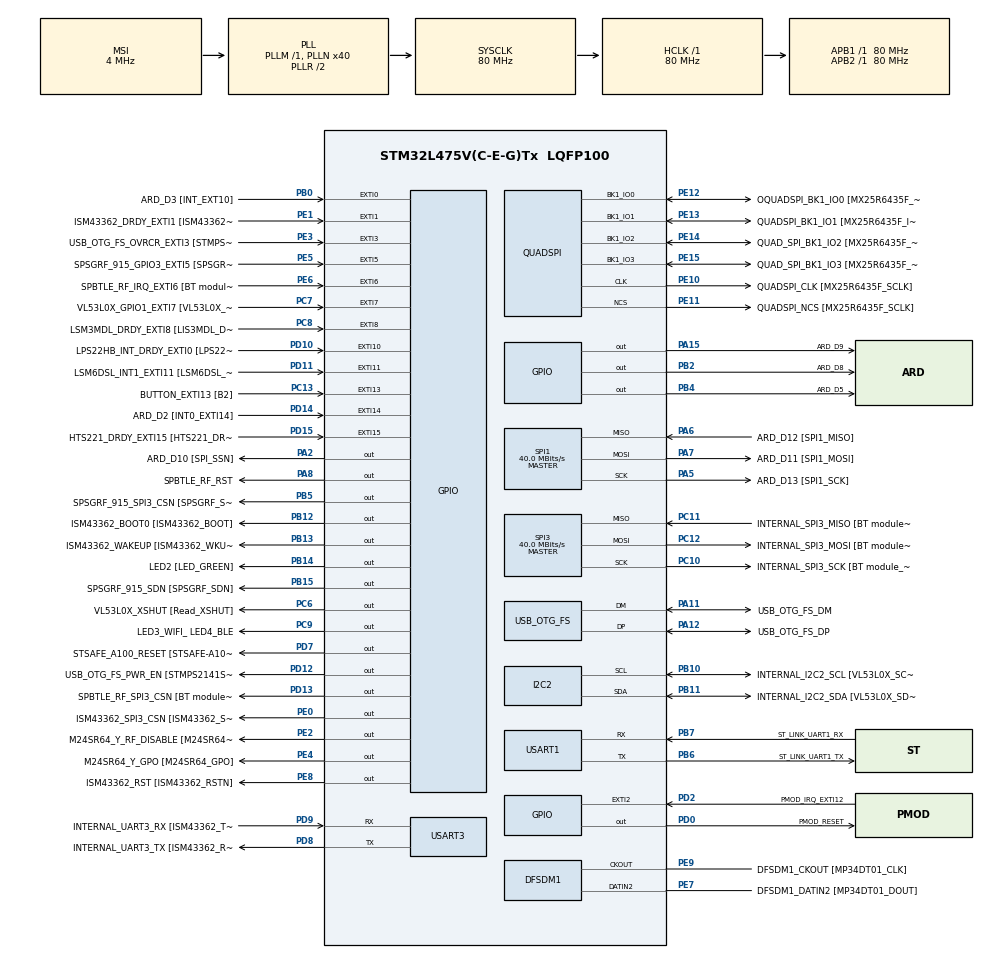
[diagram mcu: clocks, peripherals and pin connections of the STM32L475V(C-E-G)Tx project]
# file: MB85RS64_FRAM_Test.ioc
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Mcu.Family=STM32L4
Mcu.Name=STM32L475V(C-E-G)Tx
Mcu.Package=LQFP100
NVIC.EXTI15_10_IRQn=true\:0\:0\:false\:false\:true\:true\:true
NVIC.EXTI9_5_IRQn=true\:0\:0\:false\:false\:true\:true\:true
NVIC.PriorityGroup=NVIC_PRIORITYGROUP_4
PA0.GPIO_Label=ARD_D1 [UART4_TX]
PA0.Signal=UART4_TX
PA1.GPIO_Label=ARD_D0 [UART4_RX]
PA1.Signal=UART4_RX
PA10.GPIO_Label=USB_OTG_FS_ID
PA10.Signal=USB_OTG_FS_ID
PA11.GPIO_Label=USB_OTG_FS_DM
PA11.Mode=Device_Only
PA11.Signal=USB_OTG_FS_DM
PA12.GPIO_Label=USB_OTG_FS_DP
PA12.Mode=Device_Only
PA12.Signal=USB_OTG_FS_DP
PA13\ (JTMS-SWDIO).GPIO_Label=SYS_JTMS_SWDIO
PA13\ (JTMS-SWDIO).Mode=Serial_Wire
PA13\ (JTMS-SWDIO).Signal=SYS_JTMS-SWDIO
PA14\ (JTCK-SWCLK).GPIO_Label=SYS_JTCK_SWCLK
PA14\ (JTCK-SWCLK).Mode=Serial_Wire
PA14\ (JTCK-SWCLK).Signal=SYS_JTCK-SWCLK
PA15\ (JTDI).GPIO_Label=ARD_D9
PA15\ (JTDI).Signal=GPIO_Output
PA2.GPIO_Label=ARD_D10 [SPI_SSN]
PA2.Signal=GPIO_Output
PA3.GPIO_Label=ARD_D4
PA3.Signal=S_TIM2_CH4
PA4.GPIO_Label=ARD_D7
PA4.Signal=ADCx_IN9
PA5.GPIO_Label=ARD_D13 [SPI1_SCK]
PA5.Mode=Full_Duplex_Master
PA5.Signal=SPI1_SCK
PA6.GPIO_Label=ARD_D12 [SPI1_MISO]
PA6.Mode=Full_Duplex_Master
PA6.Signal=SPI1_MISO
PA7.GPIO_Label=ARD_D11 [SPI1_MOSI]
PA7.Mode=Full_Duplex_Master
PA7.Signal=SPI1_MOSI
PA8.GPIO_Label=SPBTLE_RF_RST
PA8.Signal=GPIO_Output
PA9.GPIO_Label=USB_OTG_FS_VBUS [STMPS2141STR_OUT]
PA9.Signal=USB_OTG_FS_VBUS
PB0.GPIO_Label=ARD_D3 [INT_EXT10]
PB0.Signal=GPXTI0
PB1.GPIO_Label=ARD_D6 [ADC1_IN6]
PB1.Signal=ADCx_IN16
PB10.GPIO_Label=INTERNAL_I2C2_SCL [VL53L0X_SCL]
PB10.Mode=I2C
PB10.Signal=I2C2_SCL
PB11.GPIO_Label=INTERNAL_I2C2_SDA [VL53L0X_SDA]
PB11.Mode=I2C
PB11.Signal=I2C2_SDA
PB12.GPIO_Label=ISM43362_BOOT0 [ISM43362_BOOT]
PB12.Signal=GPIO_Output
PB13.GPIO_Label=ISM43362_WAKEUP [ISM43362_WKUP]
PB13.Signal=GPIO_Output
PB14.GPIO_Label=LED2 [LED_GREEN]
PB14.Signal=GPIO_Output
PB15.GPIO_Label=SPSGRF_915_SDN [SPSGRF_SDN]
PB15.Signal=GPIO_Output
PB2.GPIO_Label=ARD_D8
PB2.Signal=GPIO_Output
PB3\ (JTDO-TRACESWO).GPIO_Label=SYS_JTD0_SWO
PB3\ (JTDO-TRACESWO).Signal=SYS_JTDO-SWO
PB4\ (NJTRST).GPIO_Label=ARD_D5
PB4\ (NJTRST).Signal=GPIO_Output
PB5.GPIO_Label=SPSGRF_915_SPI3_CSN [SPSGRF_SPI_CS]
PB5.PinState=GPIO_PIN_SET
PB5.Signal=GPIO_Output
PB6.GPIO_Label=ST_LINK_UART1_TX
PB6.Mode=Asynchronous
PB6.Signal=USART1_TX
PB7.GPIO_Label=ST_LINK_UART1_RX
PB7.Mode=Asynchronous
PB7.Signal=USART1_RX
PB8.GPIO_Label=ARD_D15 [I2C1_SCL]
PB8.Signal=I2C1_SCL
PB9.GPIO_Label=ARD_D14 [I2C1_SDA]
PB9.Signal=I2C1_SDA
PC0.GPIO_Label=ARD_A5 [ADC]
PC0.Signal=ADCx_IN1
PC1.GPIO_Label=ARD_A4 [ADC]
PC1.Signal=ADCx_IN2
PC10.GPIO_Label=INTERNAL_SPI3_SCK [BT module_SPI_SCLK]
PC10.Mode=Full_Duplex_Master
PC10.Signal=SPI3_SCK
PC11.GPIO_Label=INTERNAL_SPI3_MISO [BT module_SPI_MISO]
PC11.Mode=Full_Duplex_Master
PC11.Signal=SPI3_MISO
PC12.GPIO_Label=INTERNAL_SPI3_MOSI [BT module_SPI_MOSI]
PC12.Mode=Full_Duplex_Master
PC12.Signal=SPI3_MOSI
PC13.GPIO_Label=BUTTON_EXTI13 [B2]
PC13.GPIO_ModeDefaultEXTI=GPIO_MODE_IT_FALLING
PC13.Signal=GPXTI13
PC14-OSC32_IN\ (PC14).Mode=LSE-External-Oscillator
PC14-OSC32_IN\ (PC14).Signal=RCC_OSC32_IN
PC15-OSC32_OUT\ (PC15).Mode=LSE-External-Oscillator
PC15-OSC32_OUT\ (PC15).Signal=RCC_OSC32_OUT
PC2.GPIO_Label=ARD_A3 [ADC]
PC2.Signal=ADCx_IN3
PC3.GPIO_Label=ARD_A2 [ADC]
PC3.Signal=ADCx_IN4
PC4.GPIO_Label=ARD_A1 [ADC]
PC4.Signal=ADCx_IN13
PC5.GPIO_Label=ARD_A0 [ADC]
PC5.Signal=ADCx_IN14
PC6.GPIO_Label=VL53L0X_XSHUT [Read_XSHUT]
PC6.Signal=GPIO_Output
PC7.GPIO_Label=VL53L0X_GPIO1_EXTI7 [VL53L0X_GPIO1]
PC7.Signal=GPXTI7
PC8.GPIO_Label=LSM3MDL_DRDY_EXTI8 [LIS3MDL_DRDY]
PC8.Signal=GPXTI8
PC9.GPIO_Label=LED3_WIFI_ LED4_BLE
PC9.Signal=GPIO_Output
PD0.GPIO_Label=PMOD_RESET
PD0.Signal=GPIO_Output
PD1.GPIO_Label=PMOD_SPI2_SCK
PD1.Signal=SPI2_SCK
PD10.GPIO_Label=LPS22HB_INT_DRDY_EXTI0 [LPS22HB_INT_DRDY] 
PD10.Signal=GPXTI10
PD11.GPIO_Label=LSM6DSL_INT1_EXTI11 [LSM6DSL_INT1]
PD11.Signal=GPXTI11
PD12.GPIO_Label=USB_OTG_FS_PWR_EN [STMPS2141STR_EN]
PD12.Signal=GPIO_Output
PD13.GPIO_Label=SPBTLE_RF_SPI3_CSN [BT module_SPI_CS]
PD13.PinState=GPIO_PIN_SET
PD13.Signal=GPIO_Output
PD14.GPIO_Label=ARD_D2 [INT0_EXTI14]
PD14.Signal=GPXTI14
PD15.GPIO_Label=HTS221_DRDY_EXTI15 [HTS221_DRDY]
PD15.Signal=GPXTI15
PD2.GPIO_Label=PMOD_IRQ_EXTI12
PD2.Signal=GPXTI2
PD3.GPIO_Label=PMOD_UART2_CTS
PD3.Signal=USART2_CTS
PD4.GPIO_Label=PMOD_UART2_RTS
PD4.Signal=USART2_RTS
PD5.GPIO_Label=PMOD_UART2_TX
PD5.Signal=USART2_TX
PD6.GPIO_Label=PMOD_UART2_RX
PD6.Signal=USART2_RX
PD7.GPIO_Label=STSAFE_A100_RESET [STSAFE-A100_RESET]
PD7.Signal=GPIO_Output
PD8.GPIO_Label=INTERNAL_UART3_TX [ISM43362_RX]
PD8.Mode=Asynchronous
PD8.Signal=USART3_TX
PD9.GPIO_Label=INTERNAL_UART3_RX [ISM43362_TX]
PD9.Mode=Asynchronous
PD9.Signal=USART3_RX
PE0.GPIO_Label=ISM43362_SPI3_CSN [ISM43362_SSN]
PE0.PinState=GPIO_PIN_SET
PE0.Signal=GPIO_Output
PE1.GPIO_Label=ISM43362_DRDY_EXTI1 [ISM43362_DATARDY]
PE1.Signal=GPXTI1
PE10.GPIO_Label=QUADSPI_CLK [MX25R6435F_SCLK]
PE10.Mode=Single Bank
PE10.Signal=QUADSPI_CLK
PE11.GPIO_Label=QUADSPI_NCS [MX25R6435F_SCLK]
PE11.Mode=Single Bank
PE11.Signal=QUADSPI_NCS
PE12.GPIO_Label=OQUADSPI_BK1_IO0 [MX25R6435F_IO0]
PE12.Mode=Single Bank
PE12.Signal=QUADSPI_BK1_IO0
PE13.GPIO_Label=QUADSPI_BK1_IO1 [MX25R6435F_IO1]
PE13.Mode=Single Bank
PE13.Signal=QUADSPI_BK1_IO1
PE14.GPIO_Label=QUAD_SPI_BK1_IO2 [MX25R6435F_IO2]
PE14.Mode=Single Bank
PE14.Signal=QUADSPI_BK1_IO2
PE15.GPIO_Label=QUAD_SPI_BK1_IO3 [MX25R6435F_IO3]
PE15.Mode=Single Bank
PE15.Signal=QUADSPI_BK1_IO3
PE2.GPIO_Label=M24SR64_Y_RF_DISABLE [M24SR64_RFDIS]
PE2.Signal=GPIO_Output
PE3.GPIO_Label=USB_OTG_FS_OVRCR_EXTI3 [STMPS2141STR_FAULT]
PE3.Signal=GPXTI3
PE4.GPIO_Label=M24SR64_Y_GPO [M24SR64_GPO]
PE4.Signal=GPIO_Output
PE5.GPIO_Label=SPSGRF_915_GPIO3_EXTI5 [SPSGRF_GPIO_3]
PE5.Signal=GPXTI5
PE6.GPIO_Label=SPBTLE_RF_IRQ_EXTI6 [BT module_SPI_IRQ]
PE6.Signal=GPXTI6
PE7.GPIO_Label=DFSDM1_DATIN2 [MP34DT01_DOUT]
PE7.Signal=S_DATAIN2DFSDM1
PE8.GPIO_Label=ISM43362_RST [ISM43362_RSTN]
PE8.Signal=GPIO_Output
PE9.GPIO_Label=DFSDM1_CKOUT [MP34DT01_CLK]
PE9.Signal=S_CKOUTDFSDM1
ProjectManager.HeapSize=0x200
ProjectManager.StackSize=0x400
ProjectManager.TargetToolchain=STM32CubeIDE
RCC.ADCFreq_Value=48000000
RCC.AHBFreq_Value=80000000
RCC.APB1Freq_Value=80000000
RCC.APB1TimFreq_Value=80000000
RCC.APB2Freq_Value=80000000
RCC.APB2TimFreq_Value=80000000
RCC.CortexFreq_Value=80000000
RCC.HCLKFreq_Value=80000000
RCC.HSE_VALUE=8000000
RCC.HSI_VALUE=16000000
RCC.MSI_VALUE=4000000
RCC.PLLN=40
RCC.PLLSAI1N=24
RCC.SYSCLKFreq_VALUE=80000000
RCC.SYSCLKSource=RCC_SYSCLKSOURCE_PLLCLK
RCC.USBFreq_Value=48000000
RCC.VCOOutputFreq_Value=160000000
SH.ADCx_IN1.0=ADC1_IN1
SH.ADCx_IN13.0=ADC1_IN13
SH.ADCx_IN14.0=ADC1_IN14
SH.ADCx_IN16.0=ADC1_IN16
SH.ADCx_IN2.0=ADC1_IN2
SH.ADCx_IN3.0=ADC1_IN3
SH.ADCx_IN4.0=ADC1_IN4
SH.ADCx_IN9.0=ADC1_IN9
SH.S_CKOUTDFSDM1.0=DFSDM1_CKOUT,CKOUT
SH.S_CKOUTDFSDM1.1=DFSDM1_CKOUT,PDM_SPI_Input_from_ch12_and_Internal_Clock
SH.S_DATAIN2DFSDM1.0=DFSDM1_DATIN2,PDM_SPI_Input_from_ch12_and_Internal_Clock
SH.S_TIM2_CH4.0=TIM2_CH4
SPI1.CalculateBaudRate=40.0 MBits/s
SPI1.Direction=SPI_DIRECTION_2LINES
SPI1.Mode=SPI_MODE_MASTER
SPI1.VirtualType=VM_MASTER
SPI3.CalculateBaudRate=40.0 MBits/s
SPI3.Direction=SPI_DIRECTION_2LINES
SPI3.Mode=SPI_MODE_MASTER
SPI3.VirtualType=VM_MASTER
USART1.VirtualMode-Asynchronous=VM_ASYNC
USART3.VirtualMode-Asynchronous=VM_ASYNC
USB_OTG_FS.VirtualMode=Device_Only
board=B-L475E-IOT01A1

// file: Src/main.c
/* USER CODE BEGIN Header */
/**
  ******************************************************************************
  * @file           : main.c
  * @brief          : Main program body
  ******************************************************************************
  * @attention
  *
  * <h2><center>&copy; Copyright (c) 2019 STMicroelectronics.
  * All rights reserved.</center></h2>
  *
  * This software component is licensed by ST under BSD 3-Clause license,
  * the "License"; You may not use this file except in compliance with the
  * License. You may obtain a copy of the License at:
  *                        opensource.org/licenses/BSD-3-Clause
  *
  ******************************************************************************
  */
/* USER CODE END Header */

#include "main.h"

/* USER CODE BEGIN Includes */
#include "stdio.h"
/* USER CODE END Includes */

/* USER CODE BEGIN PD */
#define FRAM_WREN    0x06
#define FRAM_WRDI    0x04
#define FRAM_RDSR    0x05
#define FRAM_WRSR    0x01
#define FRAM_READ    0x03
#define FRAM_WRITE   0x02
#define FRAM_RDID    0x9f
#define FRAM_SR_WPEN 0x80
#define FRAM_SR_BP0  0x08
#define FRAM_SR_BP1  0x04
#define FRAM_SR_WEL  0x02
#define FRAM_NULL    0x00

#define FRAM_NUM_BYTES (8 * 1024) //8KBytes
#define FRAM_TEST_DATA (((testAddr+testDataSeed) * 0x53)&0xff)
#define FRAM_TEST_ERROR_INSERT 0 //set one bit in the ESHD_FRAM_TEST_ERROR_INSERT byte to intentionally induce write errors
#define FRAM_TEST_BLOCK_SIZE 512
#define FRAM_TEST_BLOCK_MASK ((FRAM_NUM_BYTES/FRAM_TEST_BLOCK_SIZE)-1)
//defines for FRAM Chip Select
#define FRAM_CS_Pin ARD_D10_Pin
#define FRAM_CS_Port ARD_D10_GPIO_Port
//Chip Select is active low.  So Enable drives the GPIO low (Reset)
#define FRAM_CS_ENABLE HAL_GPIO_WritePin(FRAM_CS_Port, FRAM_CS_Pin, 0);
#define FRAM_CS_DISABLE HAL_GPIO_WritePin(FRAM_CS_Port, FRAM_CS_Pin, 1);

/* USER CODE END PD */

DFSDM_Channel_HandleTypeDef hdfsdm1_channel1;

I2C_HandleTypeDef hi2c2;

QSPI_HandleTypeDef hqspi;

SPI_HandleTypeDef hspi1;
SPI_HandleTypeDef hspi3;

UART_HandleTypeDef huart1;
UART_HandleTypeDef huart3;

PCD_HandleTypeDef hpcd_USB_OTG_FS;

void SystemClock_Config(void);
static void MX_GPIO_Init(void);
static void MX_DFSDM1_Init(void);
static void MX_I2C2_Init(void);
static void MX_QUADSPI_Init(void);
static void MX_SPI1_Init(void);
static void MX_SPI3_Init(void);
static void MX_USART1_UART_Init(void);
static void MX_USART3_UART_Init(void);
static void MX_USB_OTG_FS_PCD_Init(void);

/* USER CODE BEGIN 0 */
int FRAM_testBlock = 0;

void FRAM_init(void)
{
	uint8_t spiCMD;

	spiCMD = FRAM_RDID;
    FRAM_CS_ENABLE;
    HAL_SPI_Transmit(&hspi1, &spiCMD, sizeof(spiCMD), HAL_MAX_DELAY);
    FRAM_CS_DISABLE;

    spiCMD = FRAM_WRDI;
    FRAM_CS_ENABLE;
    HAL_SPI_Transmit(&hspi1, &spiCMD, sizeof(spiCMD), HAL_MAX_DELAY);
    FRAM_CS_DISABLE;

    spiCMD = FRAM_WREN;
    FRAM_CS_ENABLE;
    HAL_SPI_Transmit(&hspi1, &spiCMD, sizeof(spiCMD), HAL_MAX_DELAY);
    FRAM_CS_DISABLE;

    spiCMD = FRAM_WRSR;
    FRAM_CS_ENABLE;
    HAL_SPI_Transmit(&hspi1, &spiCMD, sizeof(spiCMD), HAL_MAX_DELAY);
    FRAM_CS_DISABLE;

    spiCMD = FRAM_SR_WEL;
    FRAM_CS_ENABLE;
    HAL_SPI_Transmit(&hspi1, &spiCMD, sizeof(spiCMD), HAL_MAX_DELAY);
    FRAM_CS_DISABLE;

    spiCMD = FRAM_RDSR;
    FRAM_CS_ENABLE;
    HAL_SPI_Transmit(&hspi1, &spiCMD, sizeof(spiCMD), HAL_MAX_DELAY);
    FRAM_CS_DISABLE;

    spiCMD = FRAM_NULL;
    FRAM_CS_ENABLE;
    HAL_SPI_Transmit(&hspi1, &spiCMD, sizeof(spiCMD), HAL_MAX_DELAY);
    FRAM_CS_DISABLE;
}

void FRAM_write(uint16_t address, uint8_t byte)
{
	uint8_t spiCMD;
	uint8_t spiAddrByte;

	spiCMD = FRAM_WREN;
    FRAM_CS_ENABLE;
    HAL_SPI_Transmit(&hspi1, &spiCMD, sizeof(spiCMD), HAL_MAX_DELAY);
    FRAM_CS_DISABLE;

    spiCMD = FRAM_WRITE;
    //enable Chip Select
    FRAM_CS_ENABLE;
    //send WRITE command
    HAL_SPI_Transmit(&hspi1, &spiCMD, sizeof(spiCMD), HAL_MAX_DELAY);
    //send upper 8 bits of address
    spiAddrByte = ((address&0x3f00)>>8);
    HAL_SPI_Transmit(&hspi1, &spiAddrByte, sizeof(spiAddrByte), HAL_MAX_DELAY);
    //send lower 8 bits of address
    spiAddrByte = (address&0x00ff);
    HAL_SPI_Transmit(&hspi1, &spiAddrByte, sizeof(spiAddrByte), HAL_MAX_DELAY);
    //sent data byte
    HAL_SPI_Transmit(&hspi1, &byte, sizeof(byte), HAL_MAX_DELAY);
    //disable Chip Select
    FRAM_CS_DISABLE;
}

uint8_t FRAM_read(uint16_t address)
{
	uint8_t spiCMD;
	uint8_t spiAddrByte;
	uint8_t byte;

	spiCMD = FRAM_READ;
    //enable Chip Select
    FRAM_CS_ENABLE;
    //send WRITE command
    HAL_SPI_Transmit(&hspi1, &spiCMD, sizeof(spiCMD), HAL_MAX_DELAY);
    //send upper 8 bits of address
    spiAddrByte = ((address&0x3f00)>>8);
    HAL_SPI_Transmit(&hspi1, &spiAddrByte, sizeof(spiAddrByte), HAL_MAX_DELAY);
    //send lower 8 bits of address
    spiAddrByte = (address&0x00ff);
    HAL_SPI_Transmit(&hspi1, &spiAddrByte, sizeof(spiAddrByte), HAL_MAX_DELAY);
    //receive data byte
    HAL_SPI_Receive(&hspi1, &byte, sizeof(byte), HAL_MAX_DELAY);
    //disable Chip Select
    FRAM_CS_DISABLE;

    return(byte);
}

int FRAM_test(uint16_t addrOffset, uint16_t addrRange, uint16_t testDataSeed)
{
    uint8_t testData=0;
    uint16_t testAddr=0;
    int rtnVal = 0;

    for(testAddr=0; testAddr<addrRange; testAddr++)
    {
        testData = FRAM_TEST_DATA | FRAM_TEST_ERROR_INSERT;
        FRAM_write(testAddr, testData);
    }

    for(testAddr=0; testAddr<addrRange; testAddr++)
    {
    	testData = FRAM_read(testAddr);
        if(testData != FRAM_TEST_DATA)
        {
            printf("\nFRAM test failure - memory = 0x%04x, expected value = 0x%02x, data read = 0x%02x\n\n",
               testAddr, FRAM_TEST_DATA, testData);
            rtnVal = -1;
        }
    }

    return (rtnVal);
}
/* USER CODE END 0 */

int main(void)
{

  /* MCU Configuration--------------------------------------------------------*/

  /* Reset of all peripherals, Initializes the Flash interface and the Systick. */
  HAL_Init();

  /* USER CODE BEGIN Init */

  //make sure FRAM chip select is disabled - Active low so disable drives GPIO high
  FRAM_CS_DISABLE;

  /* USER CODE END Init */

  /* Configure the system clock */
  SystemClock_Config();

  /* Initialize all configured peripherals */
  MX_GPIO_Init();
  MX_DFSDM1_Init();
  MX_I2C2_Init();
  MX_QUADSPI_Init();
  MX_SPI1_Init();
  MX_SPI3_Init();
  MX_USART1_UART_Init();
  MX_USART3_UART_Init();
  MX_USB_OTG_FS_PCD_Init();
  /* USER CODE BEGIN 2 */
  printf("\n\n\n");
  printf("************************************\n");
  printf("*         UCSD Extension           *\n");
  printf("*   Embedded Systems Engineering   *\n");
  printf("*  ~~~~~~~~~~~~~~~~~~~~~~~~~~~~~~  *\n");
  printf("* Project Name : MB85S64 FRAM Test *\n");
  printf("* Student Name : Chris Isabelle    *\n");
  printf("*          SID : U01136665         *\n");
  printf("*         Date : 11/17/2019        *\n");
  printf("************************************\n");

  printf("\n\n\n");
  printf("MB85S64 FRAM Test run continuously\n\n");

  /* USER CODE END 2 */

  /* Infinite loop */
  /* USER CODE BEGIN WHILE */
  FRAM_init();
  while (1)
  {
    /* USER CODE END WHILE */

    /* USER CODE BEGIN 3 */
	uint16_t FRAM_testAddr = FRAM_TEST_BLOCK_SIZE * (FRAM_testBlock & FRAM_TEST_BLOCK_MASK);
	printf("FRAM_test: addr=0x%08x, range=0x%08x\n", FRAM_testAddr, FRAM_TEST_BLOCK_SIZE);
	FRAM_test(FRAM_testAddr, FRAM_TEST_BLOCK_SIZE, FRAM_testBlock);
	++FRAM_testBlock;
  }
  /* USER CODE END 3 */
}

void SystemClock_Config(void)
{
  RCC_OscInitTypeDef RCC_OscInitStruct = {0};
  RCC_ClkInitTypeDef RCC_ClkInitStruct = {0};
  RCC_PeriphCLKInitTypeDef PeriphClkInit = {0};

  /** Configure LSE Drive Capability
  */
  HAL_PWR_EnableBkUpAccess();
  __HAL_RCC_LSEDRIVE_CONFIG(RCC_LSEDRIVE_LOW);
  /** Initializes the CPU, AHB and APB busses clocks
  */
  RCC_OscInitStruct.OscillatorType = RCC_OSCILLATORTYPE_LSE|RCC_OSCILLATORTYPE_MSI;
  RCC_OscInitStruct.LSEState = RCC_LSE_ON;
  RCC_OscInitStruct.MSIState = RCC_MSI_ON;
  RCC_OscInitStruct.MSICalibrationValue = 0;
  RCC_OscInitStruct.MSIClockRange = RCC_MSIRANGE_6;
  RCC_OscInitStruct.PLL.PLLState = RCC_PLL_ON;
  RCC_OscInitStruct.PLL.PLLSource = RCC_PLLSOURCE_MSI;
  RCC_OscInitStruct.PLL.PLLM = 1;
  RCC_OscInitStruct.PLL.PLLN = 40;
  RCC_OscInitStruct.PLL.PLLP = RCC_PLLP_DIV7;
  RCC_OscInitStruct.PLL.PLLQ = RCC_PLLQ_DIV2;
  RCC_OscInitStruct.PLL.PLLR = RCC_PLLR_DIV2;
  if (HAL_RCC_OscConfig(&RCC_OscInitStruct) != HAL_OK)
  {
    Error_Handler();
  }
  /** Initializes the CPU, AHB and APB busses clocks
  */
  RCC_ClkInitStruct.ClockType = RCC_CLOCKTYPE_HCLK|RCC_CLOCKTYPE_SYSCLK
                              |RCC_CLOCKTYPE_PCLK1|RCC_CLOCKTYPE_PCLK2;
  RCC_ClkInitStruct.SYSCLKSource = RCC_SYSCLKSOURCE_PLLCLK;
  RCC_ClkInitStruct.AHBCLKDivider = RCC_SYSCLK_DIV1;
  RCC_ClkInitStruct.APB1CLKDivider = RCC_HCLK_DIV1;
  RCC_ClkInitStruct.APB2CLKDivider = RCC_HCLK_DIV1;

  if (HAL_RCC_ClockConfig(&RCC_ClkInitStruct, FLASH_LATENCY_4) != HAL_OK)
  {
    Error_Handler();
  }
  PeriphClkInit.PeriphClockSelection = RCC_PERIPHCLK_USART1|RCC_PERIPHCLK_USART3
                              |RCC_PERIPHCLK_I2C2|RCC_PERIPHCLK_DFSDM1
                              |RCC_PERIPHCLK_USB;
  PeriphClkInit.Usart1ClockSelection = RCC_USART1CLKSOURCE_PCLK2;
  PeriphClkInit.Usart3ClockSelection = RCC_USART3CLKSOURCE_PCLK1;
  PeriphClkInit.I2c2ClockSelection = RCC_I2C2CLKSOURCE_PCLK1;
  PeriphClkInit.Dfsdm1ClockSelection = RCC_DFSDM1CLKSOURCE_PCLK;
  PeriphClkInit.UsbClockSelection = RCC_USBCLKSOURCE_PLLSAI1;
  PeriphClkInit.PLLSAI1.PLLSAI1Source = RCC_PLLSOURCE_MSI;
  PeriphClkInit.PLLSAI1.PLLSAI1M = 1;
  PeriphClkInit.PLLSAI1.PLLSAI1N = 24;
  PeriphClkInit.PLLSAI1.PLLSAI1P = RCC_PLLP_DIV7;
  PeriphClkInit.PLLSAI1.PLLSAI1Q = RCC_PLLQ_DIV2;
  PeriphClkInit.PLLSAI1.PLLSAI1R = RCC_PLLR_DIV2;
  PeriphClkInit.PLLSAI1.PLLSAI1ClockOut = RCC_PLLSAI1_48M2CLK;
  if (HAL_RCCEx_PeriphCLKConfig(&PeriphClkInit) != HAL_OK)
  {
    Error_Handler();
  }
  /** Configure the main internal regulator output voltage
  */
  if (HAL_PWREx_ControlVoltageScaling(PWR_REGULATOR_VOLTAGE_SCALE1) != HAL_OK)
  {
    Error_Handler();
  }
  /** Enable MSI Auto calibration
  */
  HAL_RCCEx_EnableMSIPLLMode();
}

static void MX_DFSDM1_Init(void)
{

  hdfsdm1_channel1.Instance = DFSDM1_Channel1;
  hdfsdm1_channel1.Init.OutputClock.Activation = ENABLE;
  hdfsdm1_channel1.Init.OutputClock.Selection = DFSDM_CHANNEL_OUTPUT_CLOCK_SYSTEM;
  hdfsdm1_channel1.Init.OutputClock.Divider = 2;
  hdfsdm1_channel1.Init.Input.Multiplexer = DFSDM_CHANNEL_EXTERNAL_INPUTS;
  hdfsdm1_channel1.Init.Input.DataPacking = DFSDM_CHANNEL_STANDARD_MODE;
  hdfsdm1_channel1.Init.Input.Pins = DFSDM_CHANNEL_FOLLOWING_CHANNEL_PINS;
  hdfsdm1_channel1.Init.SerialInterface.Type = DFSDM_CHANNEL_SPI_RISING;
  hdfsdm1_channel1.Init.SerialInterface.SpiClock = DFSDM_CHANNEL_SPI_CLOCK_INTERNAL;
  hdfsdm1_channel1.Init.Awd.FilterOrder = DFSDM_CHANNEL_FASTSINC_ORDER;
  hdfsdm1_channel1.Init.Awd.Oversampling = 1;
  hdfsdm1_channel1.Init.Offset = 0;
  hdfsdm1_channel1.Init.RightBitShift = 0x00;
  if (HAL_DFSDM_ChannelInit(&hdfsdm1_channel1) != HAL_OK)
  {
    Error_Handler();
  }

}

static void MX_I2C2_Init(void)
{

  hi2c2.Instance = I2C2;
  hi2c2.Init.Timing = 0x10909CEC;
  hi2c2.Init.OwnAddress1 = 0;
  hi2c2.Init.AddressingMode = I2C_ADDRESSINGMODE_7BIT;
  hi2c2.Init.DualAddressMode = I2C_DUALADDRESS_DISABLE;
  hi2c2.Init.OwnAddress2 = 0;
  hi2c2.Init.OwnAddress2Masks = I2C_OA2_NOMASK;
  hi2c2.Init.GeneralCallMode = I2C_GENERALCALL_DISABLE;
  hi2c2.Init.NoStretchMode = I2C_NOSTRETCH_DISABLE;
  if (HAL_I2C_Init(&hi2c2) != HAL_OK)
  {
    Error_Handler();
  }
  /** Configure Analogue filter
  */
  if (HAL_I2CEx_ConfigAnalogFilter(&hi2c2, I2C_ANALOGFILTER_ENABLE) != HAL_OK)
  {
    Error_Handler();
  }
  /** Configure Digital filter
  */
  if (HAL_I2CEx_ConfigDigitalFilter(&hi2c2, 0) != HAL_OK)
  {
    Error_Handler();
  }

}

static void MX_QUADSPI_Init(void)
{

  /* QUADSPI parameter configuration*/
  hqspi.Instance = QUADSPI;
  hqspi.Init.ClockPrescaler = 255;
  hqspi.Init.FifoThreshold = 1;
  hqspi.Init.SampleShifting = QSPI_SAMPLE_SHIFTING_NONE;
  hqspi.Init.FlashSize = 1;
  hqspi.Init.ChipSelectHighTime = QSPI_CS_HIGH_TIME_1_CYCLE;
  hqspi.Init.ClockMode = QSPI_CLOCK_MODE_0;
  if (HAL_QSPI_Init(&hqspi) != HAL_OK)
  {
    Error_Handler();
  }

}

static void MX_SPI1_Init(void)
{

  /* SPI1 parameter configuration*/
  hspi1.Instance = SPI1;
  hspi1.Init.Mode = SPI_MODE_MASTER;
  hspi1.Init.Direction = SPI_DIRECTION_2LINES;
  hspi1.Init.DataSize = SPI_DATASIZE_8BIT;
  hspi1.Init.CLKPolarity = SPI_POLARITY_LOW;
  hspi1.Init.CLKPhase = SPI_PHASE_1EDGE;
  hspi1.Init.NSS = SPI_NSS_SOFT;
  hspi1.Init.BaudRatePrescaler = SPI_BAUDRATEPRESCALER_16;
  hspi1.Init.FirstBit = SPI_FIRSTBIT_MSB;
  hspi1.Init.TIMode = SPI_TIMODE_DISABLE;
  hspi1.Init.CRCCalculation = SPI_CRCCALCULATION_DISABLE;
  hspi1.Init.CRCPolynomial = 7;
  hspi1.Init.CRCLength = SPI_CRC_LENGTH_DATASIZE;
  hspi1.Init.NSSPMode = SPI_NSS_PULSE_ENABLE;
  if (HAL_SPI_Init(&hspi1) != HAL_OK)
  {
    Error_Handler();
  }

}

static void MX_SPI3_Init(void)
{

  /* SPI3 parameter configuration*/
  hspi3.Instance = SPI3;
  hspi3.Init.Mode = SPI_MODE_MASTER;
  hspi3.Init.Direction = SPI_DIRECTION_2LINES;
  hspi3.Init.DataSize = SPI_DATASIZE_4BIT;
  hspi3.Init.CLKPolarity = SPI_POLARITY_LOW;
  hspi3.Init.CLKPhase = SPI_PHASE_1EDGE;
  hspi3.Init.NSS = SPI_NSS_SOFT;
  hspi3.Init.BaudRatePrescaler = SPI_BAUDRATEPRESCALER_32;
  hspi3.Init.FirstBit = SPI_FIRSTBIT_MSB;
  hspi3.Init.TIMode = SPI_TIMODE_DISABLE;
  hspi3.Init.CRCCalculation = SPI_CRCCALCULATION_DISABLE;
  hspi3.Init.CRCPolynomial = 7;
  hspi3.Init.CRCLength = SPI_CRC_LENGTH_DATASIZE;
  hspi3.Init.NSSPMode = SPI_NSS_PULSE_ENABLE;
  if (HAL_SPI_Init(&hspi3) != HAL_OK)
  {
    Error_Handler();
  }

}

static void MX_USART1_UART_Init(void)
{

  huart1.Instance = USART1;
  huart1.Init.BaudRate = 115200;
  huart1.Init.WordLength = UART_WORDLENGTH_8B;
  huart1.Init.StopBits = UART_STOPBITS_1;
  huart1.Init.Parity = UART_PARITY_NONE;
  huart1.Init.Mode = UART_MODE_TX_RX;
  huart1.Init.HwFlowCtl = UART_HWCONTROL_NONE;
  huart1.Init.OverSampling = UART_OVERSAMPLING_16;
  huart1.Init.OneBitSampling = UART_ONE_BIT_SAMPLE_DISABLE;
  huart1.AdvancedInit.AdvFeatureInit = UART_ADVFEATURE_NO_INIT;
  if (HAL_UART_Init(&huart1) != HAL_OK)
  {
    Error_Handler();
  }

}

static void MX_USART3_UART_Init(void)
{

  huart3.Instance = USART3;
  huart3.Init.BaudRate = 115200;
  huart3.Init.WordLength = UART_WORDLENGTH_8B;
  huart3.Init.StopBits = UART_STOPBITS_1;
  huart3.Init.Parity = UART_PARITY_NONE;
  huart3.Init.Mode = UART_MODE_TX_RX;
  huart3.Init.HwFlowCtl = UART_HWCONTROL_NONE;
  huart3.Init.OverSampling = UART_OVERSAMPLING_16;
  huart3.Init.OneBitSampling = UART_ONE_BIT_SAMPLE_DISABLE;
  huart3.AdvancedInit.AdvFeatureInit = UART_ADVFEATURE_NO_INIT;
  if (HAL_UART_Init(&huart3) != HAL_OK)
  {
    Error_Handler();
  }

}

static void MX_USB_OTG_FS_PCD_Init(void)
{

  hpcd_USB_OTG_FS.Instance = USB_OTG_FS;
  hpcd_USB_OTG_FS.Init.dev_endpoints = 6;
  hpcd_USB_OTG_FS.Init.speed = PCD_SPEED_FULL;
  hpcd_USB_OTG_FS.Init.phy_itface = PCD_PHY_EMBEDDED;
  hpcd_USB_OTG_FS.Init.Sof_enable = DISABLE;
  hpcd_USB_OTG_FS.Init.low_power_enable = DISABLE;
  hpcd_USB_OTG_FS.Init.lpm_enable = DISABLE;
  hpcd_USB_OTG_FS.Init.battery_charging_enable = DISABLE;
  hpcd_USB_OTG_FS.Init.use_dedicated_ep1 = DISABLE;
  hpcd_USB_OTG_FS.Init.vbus_sensing_enable = DISABLE;
  if (HAL_PCD_Init(&hpcd_USB_OTG_FS) != HAL_OK)
  {
    Error_Handler();
  }

}

static void MX_GPIO_Init(void)
{
  GPIO_InitTypeDef GPIO_InitStruct = {0};

  /* GPIO Ports Clock Enable */
  __HAL_RCC_GPIOE_CLK_ENABLE();
  __HAL_RCC_GPIOC_CLK_ENABLE();
  __HAL_RCC_GPIOA_CLK_ENABLE();
  __HAL_RCC_GPIOB_CLK_ENABLE();
  __HAL_RCC_GPIOD_CLK_ENABLE();

  /*Configure GPIO pin Output Level */
  HAL_GPIO_WritePin(GPIOE, M24SR64_Y_RF_DISABLE_Pin|M24SR64_Y_GPO_Pin|ISM43362_RST_Pin, GPIO_PIN_RESET);

  /*Configure GPIO pin Output Level */
  HAL_GPIO_WritePin(GPIOA, ARD_D10_Pin|SPBTLE_RF_RST_Pin|ARD_D9_Pin, GPIO_PIN_RESET);

  /*Configure GPIO pin Output Level */
  HAL_GPIO_WritePin(GPIOB, ARD_D8_Pin|ISM43362_BOOT0_Pin|ISM43362_WAKEUP_Pin|LED2_Pin
                          |SPSGRF_915_SDN_Pin|ARD_D5_Pin, GPIO_PIN_RESET);

  /*Configure GPIO pin Output Level */
  HAL_GPIO_WritePin(GPIOD, USB_OTG_FS_PWR_EN_Pin|PMOD_RESET_Pin|STSAFE_A100_RESET_Pin, GPIO_PIN_RESET);

  /*Configure GPIO pin Output Level */
  HAL_GPIO_WritePin(SPBTLE_RF_SPI3_CSN_GPIO_Port, SPBTLE_RF_SPI3_CSN_Pin, GPIO_PIN_SET);

  /*Configure GPIO pin Output Level */
  HAL_GPIO_WritePin(GPIOC, VL53L0X_XSHUT_Pin|LED3_WIFI__LED4_BLE_Pin, GPIO_PIN_RESET);

  /*Configure GPIO pin Output Level */
  HAL_GPIO_WritePin(SPSGRF_915_SPI3_CSN_GPIO_Port, SPSGRF_915_SPI3_CSN_Pin, GPIO_PIN_SET);

  /*Configure GPIO pin Output Level */
  HAL_GPIO_WritePin(ISM43362_SPI3_CSN_GPIO_Port, ISM43362_SPI3_CSN_Pin, GPIO_PIN_SET);

  /*Configure GPIO pins : M24SR64_Y_RF_DISABLE_Pin M24SR64_Y_GPO_Pin ISM43362_RST_Pin ISM43362_SPI3_CSN_Pin */
  GPIO_InitStruct.Pin = M24SR64_Y_RF_DISABLE_Pin|M24SR64_Y_GPO_Pin|ISM43362_RST_Pin|ISM43362_SPI3_CSN_Pin;
  GPIO_InitStruct.Mode = GPIO_MODE_OUTPUT_PP;
  GPIO_InitStruct.Pull = GPIO_NOPULL;
  GPIO_InitStruct.Speed = GPIO_SPEED_FREQ_LOW;
  HAL_GPIO_Init(GPIOE, &GPIO_InitStruct);

  /*Configure GPIO pins : USB_OTG_FS_OVRCR_EXTI3_Pin SPSGRF_915_GPIO3_EXTI5_Pin SPBTLE_RF_IRQ_EXTI6_Pin ISM43362_DRDY_EXTI1_Pin */
  GPIO_InitStruct.Pin = USB_OTG_FS_OVRCR_EXTI3_Pin|SPSGRF_915_GPIO3_EXTI5_Pin|SPBTLE_RF_IRQ_EXTI6_Pin|ISM43362_DRDY_EXTI1_Pin;
  GPIO_InitStruct.Mode = GPIO_MODE_IT_RISING;
  GPIO_InitStruct.Pull = GPIO_NOPULL;
  HAL_GPIO_Init(GPIOE, &GPIO_InitStruct);

  /*Configure GPIO pin : BUTTON_EXTI13_Pin */
  GPIO_InitStruct.Pin = BUTTON_EXTI13_Pin;
  GPIO_InitStruct.Mode = GPIO_MODE_IT_FALLING;
  GPIO_InitStruct.Pull = GPIO_NOPULL;
  HAL_GPIO_Init(BUTTON_EXTI13_GPIO_Port, &GPIO_InitStruct);

  /*Configure GPIO pins : ARD_A5_Pin ARD_A4_Pin ARD_A3_Pin ARD_A2_Pin
                           ARD_A1_Pin ARD_A0_Pin */
  GPIO_InitStruct.Pin = ARD_A5_Pin|ARD_A4_Pin|ARD_A3_Pin|ARD_A2_Pin
                          |ARD_A1_Pin|ARD_A0_Pin;
  GPIO_InitStruct.Mode = GPIO_MODE_ANALOG_ADC_CONTROL;
  GPIO_InitStruct.Pull = GPIO_NOPULL;
  HAL_GPIO_Init(GPIOC, &GPIO_InitStruct);

  /*Configure GPIO pins : ARD_D1_Pin ARD_D0_Pin */
  GPIO_InitStruct.Pin = ARD_D1_Pin|ARD_D0_Pin;
  GPIO_InitStruct.Mode = GPIO_MODE_AF_PP;
  GPIO_InitStruct.Pull = GPIO_NOPULL;
  GPIO_InitStruct.Speed = GPIO_SPEED_FREQ_VERY_HIGH;
  GPIO_InitStruct.Alternate = GPIO_AF8_UART4;
  HAL_GPIO_Init(GPIOA, &GPIO_InitStruct);

  /*Configure GPIO pins : ARD_D10_Pin SPBTLE_RF_RST_Pin ARD_D9_Pin */
  GPIO_InitStruct.Pin = ARD_D10_Pin|SPBTLE_RF_RST_Pin|ARD_D9_Pin;
  GPIO_InitStruct.Mode = GPIO_MODE_OUTPUT_PP;
  GPIO_InitStruct.Pull = GPIO_NOPULL;
  GPIO_InitStruct.Speed = GPIO_SPEED_FREQ_LOW;
  HAL_GPIO_Init(GPIOA, &GPIO_InitStruct);

  /*Configure GPIO pin : ARD_D4_Pin */
  GPIO_InitStruct.Pin = ARD_D4_Pin;
  GPIO_InitStruct.Mode = GPIO_MODE_AF_PP;
  GPIO_InitStruct.Pull = GPIO_NOPULL;
  GPIO_InitStruct.Speed = GPIO_SPEED_FREQ_LOW;
  GPIO_InitStruct.Alternate = GPIO_AF1_TIM2;
  HAL_GPIO_Init(ARD_D4_GPIO_Port, &GPIO_InitStruct);

  /*Configure GPIO pin : ARD_D7_Pin */
  GPIO_InitStruct.Pin = ARD_D7_Pin;
  GPIO_InitStruct.Mode = GPIO_MODE_ANALOG_ADC_CONTROL;
  GPIO_InitStruct.Pull = GPIO_NOPULL;
  HAL_GPIO_Init(ARD_D7_GPIO_Port, &GPIO_InitStruct);

  /*Configure GPIO pin : ARD_D3_Pin */
  GPIO_InitStruct.Pin = ARD_D3_Pin;
  GPIO_InitStruct.Mode = GPIO_MODE_IT_RISING;
  GPIO_InitStruct.Pull = GPIO_NOPULL;
  HAL_GPIO_Init(ARD_D3_GPIO_Port, &GPIO_InitStruct);

  /*Configure GPIO pin : ARD_D6_Pin */
  GPIO_InitStruct.Pin = ARD_D6_Pin;
  GPIO_InitStruct.Mode = GPIO_MODE_ANALOG_ADC_CONTROL;
  GPIO_InitStruct.Pull = GPIO_NOPULL;
  HAL_GPIO_Init(ARD_D6_GPIO_Port, &GPIO_InitStruct);

  /*Configure GPIO pins : ARD_D8_Pin ISM43362_BOOT0_Pin ISM43362_WAKEUP_Pin LED2_Pin
                           SPSGRF_915_SDN_Pin ARD_D5_Pin SPSGRF_915_SPI3_CSN_Pin */
  GPIO_InitStruct.Pin = ARD_D8_Pin|ISM43362_BOOT0_Pin|ISM43362_WAKEUP_Pin|LED2_Pin
                          |SPSGRF_915_SDN_Pin|ARD_D5_Pin|SPSGRF_915_SPI3_CSN_Pin;
  GPIO_InitStruct.Mode = GPIO_MODE_OUTPUT_PP;
  GPIO_InitStruct.Pull = GPIO_NOPULL;
  GPIO_InitStruct.Speed = GPIO_SPEED_FREQ_LOW;
  HAL_GPIO_Init(GPIOB, &GPIO_InitStruct);

  /*Configure GPIO pins : LPS22HB_INT_DRDY_EXTI0_Pin LSM6DSL_INT1_EXTI11_Pin ARD_D2_Pin HTS221_DRDY_EXTI15_Pin
                           PMOD_IRQ_EXTI12_Pin */
  GPIO_InitStruct.Pin = LPS22HB_INT_DRDY_EXTI0_Pin|LSM6DSL_INT1_EXTI11_Pin|ARD_D2_Pin|HTS221_DRDY_EXTI15_Pin
                          |PMOD_IRQ_EXTI12_Pin;
  GPIO_InitStruct.Mode = GPIO_MODE_IT_RISING;
  GPIO_InitStruct.Pull = GPIO_NOPULL;
  HAL_GPIO_Init(GPIOD, &GPIO_InitStruct);

  /*Configure GPIO pins : USB_OTG_FS_PWR_EN_Pin SPBTLE_RF_SPI3_CSN_Pin PMOD_RESET_Pin STSAFE_A100_RESET_Pin */
  GPIO_InitStruct.Pin = USB_OTG_FS_PWR_EN_Pin|SPBTLE_RF_SPI3_CSN_Pin|PMOD_RESET_Pin|STSAFE_A100_RESET_Pin;
  GPIO_InitStruct.Mode = GPIO_MODE_OUTPUT_PP;
  GPIO_InitStruct.Pull = GPIO_NOPULL;
  GPIO_InitStruct.Speed = GPIO_SPEED_FREQ_LOW;
  HAL_GPIO_Init(GPIOD, &GPIO_InitStruct);

  /*Configure GPIO pins : VL53L0X_XSHUT_Pin LED3_WIFI__LED4_BLE_Pin */
  GPIO_InitStruct.Pin = VL53L0X_XSHUT_Pin|LED3_WIFI__LED4_BLE_Pin;
  GPIO_InitStruct.Mode = GPIO_MODE_OUTPUT_PP;
  GPIO_InitStruct.Pull = GPIO_NOPULL;
  GPIO_InitStruct.Speed = GPIO_SPEED_FREQ_LOW;
  HAL_GPIO_Init(GPIOC, &GPIO_InitStruct);

  /*Configure GPIO pins : VL53L0X_GPIO1_EXTI7_Pin LSM3MDL_DRDY_EXTI8_Pin */
  GPIO_InitStruct.Pin = VL53L0X_GPIO1_EXTI7_Pin|LSM3MDL_DRDY_EXTI8_Pin;
  GPIO_InitStruct.Mode = GPIO_MODE_IT_RISING;
  GPIO_InitStruct.Pull = GPIO_NOPULL;
  HAL_GPIO_Init(GPIOC, &GPIO_InitStruct);

  /*Configure GPIO pin : PMOD_SPI2_SCK_Pin */
  GPIO_InitStruct.Pin = PMOD_SPI2_SCK_Pin;
  GPIO_InitStruct.Mode = GPIO_MODE_AF_PP;
  GPIO_InitStruct.Pull = GPIO_NOPULL;
  GPIO_InitStruct.Speed = GPIO_SPEED_FREQ_VERY_HIGH;
  GPIO_InitStruct.Alternate = GPIO_AF5_SPI2;
  HAL_GPIO_Init(PMOD_SPI2_SCK_GPIO_Port, &GPIO_InitStruct);

  /*Configure GPIO pins : PMOD_UART2_CTS_Pin PMOD_UART2_RTS_Pin PMOD_UART2_TX_Pin PMOD_UART2_RX_Pin */
  GPIO_InitStruct.Pin = PMOD_UART2_CTS_Pin|PMOD_UART2_RTS_Pin|PMOD_UART2_TX_Pin|PMOD_UART2_RX_Pin;
  GPIO_InitStruct.Mode = GPIO_MODE_AF_PP;
  GPIO_InitStruct.Pull = GPIO_NOPULL;
  GPIO_InitStruct.Speed = GPIO_SPEED_FREQ_VERY_HIGH;
  GPIO_InitStruct.Alternate = GPIO_AF7_USART2;
  HAL_GPIO_Init(GPIOD, &GPIO_InitStruct);

  /*Configure GPIO pins : ARD_D15_Pin ARD_D14_Pin */
  GPIO_InitStruct.Pin = ARD_D15_Pin|ARD_D14_Pin;
  GPIO_InitStruct.Mode = GPIO_MODE_AF_OD;
  GPIO_InitStruct.Pull = GPIO_PULLUP;
  GPIO_InitStruct.Speed = GPIO_SPEED_FREQ_VERY_HIGH;
  GPIO_InitStruct.Alternate = GPIO_AF4_I2C1;
  HAL_GPIO_Init(GPIOB, &GPIO_InitStruct);

  /* EXTI interrupt init*/
  HAL_NVIC_SetPriority(EXTI9_5_IRQn, 0, 0);
  HAL_NVIC_EnableIRQ(EXTI9_5_IRQn);

  HAL_NVIC_SetPriority(EXTI15_10_IRQn, 0, 0);
  HAL_NVIC_EnableIRQ(EXTI15_10_IRQn);

}

/* USER CODE BEGIN 4 */
int __io_putchar(int ch)
{
	HAL_UART_Transmit(&huart1, (uint8_t *)&ch, sizeof(uint8_t), HAL_MAX_DELAY);
	return ch;
}
int __io_getchar(void)
{
	uint8_t ch;
	HAL_UART_Receive(&huart1, &ch, sizeof(ch), HAL_MAX_DELAY);
	return ch;
}
/* USER CODE END 4 */

void Error_Handler(void)
{
}

/************************ (C) COPYRIGHT STMicroelectronics *****END OF FILE****/
